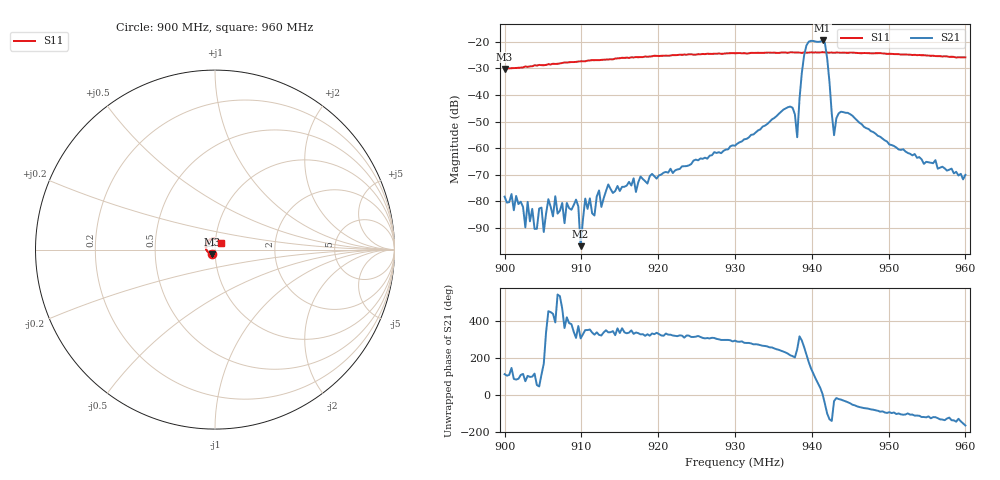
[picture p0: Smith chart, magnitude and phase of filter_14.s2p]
!File created by NanoVNA-F V2
# Hz S RI R 50
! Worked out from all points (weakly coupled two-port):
!   201 points, 900 MHz to 960 MHz, reference 50 ohm
!   highest |S21| = -19.51 dB at 941.4 MHz (marker M1); lowest = -96.8 dB at 909.9 MHz (marker M2)
!   lowest |S11| = -30.3 dB at 900 MHz (marker M3), VSWR 1.06, Z = 48.3 - j2.51 ohm
!   |S11| at or under -10 dB: start of sweep to end of sweep
!   S12 and S22 are empty: the file has one direction only
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9e8  -0.0164 -0.026  -4.3e-05 0.000115  0 0  0 0
9.099e8  -0.0415 -0.0108  8e-06 -1.2e-05  0 0  0 0
9.102e8  -0.0416 -0.0105  3.8e-05 -2.5e-05  0 0  0 0
9.126e8  -0.0453 -0.00569  6e-05 -5.1e-05  0 0  0 0
9.168e8  -0.0503 0.00673  0.000231 -0.000143  0 0  0 0
9.171e8  -0.051 0.00826  0.000137 -6.2e-05  0 0  0 0
9.177e8  -0.0506 0.00957  0.000242 -0.000167  0 0  0 0
9.201e8  -0.0511 0.017  0.000258 -0.00017  0 0  0 0
9.3e8  -0.0411 0.0448  0.000413 -0.00103  0 0  0 0
9.372e8  -0.026 0.0578  -0.00511 -0.00325  0 0  0 0
9.378e8  -0.0241 0.058  -0.00404 -0.00154  0 0  0 0
9.381e8  -0.0223 0.0587  -0.000669 -0.00146  0 0  0 0
9.384e8  -0.0219 0.0586  0.00597 -0.00599  0 0  0 0
9.39e8  -0.0201 0.0596  -0.0125 -0.054  0 0  0 0
9.402e8  -0.0166 0.0604  -0.0415 0.0948  0 0  0 0
9.414e8  -0.0144 0.0619  0.1056 0.00563  0 0  0 0
9.42e8  -0.0117 0.0614  -0.0106 -0.048  0 0  0 0
9.429e8  -0.00701 0.0617  0.00144 -0.00101  0 0  0 0
9.432e8  -0.00755 0.0623  0.00347 -0.0012  0 0  0 0
9.438e8  -0.00682 0.0619  0.00431 -0.00222  0 0  0 0
9.501e8  0.0124 0.0581  -0.000107 -0.00117  0 0  0 0
9.6e8  0.034 0.038  -0.000308 -7.1e-05  0 0  0 0
